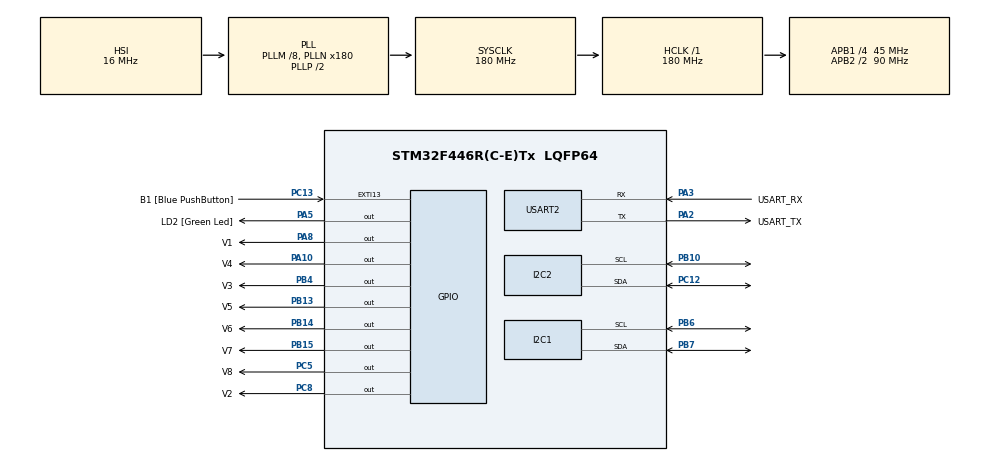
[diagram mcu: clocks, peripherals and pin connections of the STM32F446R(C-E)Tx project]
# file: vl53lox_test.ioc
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I2C1.I2C_Mode=I2C_Fast
I2C2.I2C_Mode=I2C_Fast
Mcu.Family=STM32F4
Mcu.Name=STM32F446R(C-E)Tx
Mcu.Package=LQFP64
NVIC.PriorityGroup=NVIC_PRIORITYGROUP_0
PA10.GPIO_Label=V4
PA10.Signal=GPIO_Output
PA13.GPIO_Label=TMS
PA13.Mode=Serial_Wire
PA13.Signal=SYS_JTMS-SWDIO
PA14.GPIO_Label=TCK
PA14.Mode=Serial_Wire
PA14.Signal=SYS_JTCK-SWCLK
PA2.GPIO_Label=USART_TX
PA2.Mode=Asynchronous
PA2.Signal=USART2_TX
PA3.GPIO_Label=USART_RX
PA3.Mode=Asynchronous
PA3.Signal=USART2_RX
PA5.GPIO_Label=LD2 [Green Led]
PA5.Signal=GPIO_Output
PA8.GPIO_Label=V1
PA8.Signal=GPIO_Output
PB10.Mode=I2C
PB10.Signal=I2C2_SCL
PB13.GPIO_Label=V5
PB13.Signal=GPIO_Output
PB14.GPIO_Label=V6
PB14.Signal=GPIO_Output
PB15.GPIO_Label=V7
PB15.Signal=GPIO_Output
PB3.GPIO_Label=SWO
PB3.Signal=SYS_JTDO-SWO
PB4.GPIO_Label=V3
PB4.Signal=GPIO_Output
PB6.Mode=I2C
PB6.Signal=I2C1_SCL
PB7.Mode=I2C
PB7.Signal=I2C1_SDA
PC12.Mode=I2C
PC12.Signal=I2C2_SDA
PC13.GPIO_Label=B1 [Blue PushButton]
PC13.GPIO_ModeDefaultEXTI=GPIO_MODE_IT_FALLING
PC13.Signal=GPXTI13
PC14-OSC32_IN.Mode=LSE-External-Oscillator
PC14-OSC32_IN.Signal=RCC_OSC32_IN
PC15-OSC32_OUT.Mode=LSE-External-Oscillator
PC15-OSC32_OUT.Signal=RCC_OSC32_OUT
PC5.GPIO_Label=V8
PC5.Signal=GPIO_Output
PC8.GPIO_Label=V2
PC8.Signal=GPIO_Output
PH0-OSC_IN.Mode=HSE-External-Oscillator
PH0-OSC_IN.Signal=RCC_OSC_IN
PH1-OSC_OUT.Mode=HSE-External-Oscillator
PH1-OSC_OUT.Signal=RCC_OSC_OUT
ProjectManager.HeapSize=0x200
ProjectManager.StackSize=0x400
ProjectManager.TargetToolchain=STM32CubeIDE
RCC.48MHZClocksFreq_Value=84000000
RCC.AHBFreq_Value=180000000
RCC.APB1CLKDivider=RCC_HCLK_DIV4
RCC.APB1Freq_Value=45000000
RCC.APB1TimFreq_Value=90000000
RCC.APB2CLKDivider=RCC_HCLK_DIV2
RCC.APB2Freq_Value=90000000
RCC.APB2TimFreq_Value=180000000
RCC.CortexFreq_Value=180000000
RCC.FLatency-AdvancedSettings=FLASH_LATENCY_5
RCC.HCLKFreq_Value=180000000
RCC.HSE_VALUE=8000000
RCC.HSI_VALUE=16000000
RCC.PLLM=8
RCC.PLLN=180
RCC.SYSCLKFreq_VALUE=180000000
RCC.SYSCLKSource=RCC_SYSCLKSOURCE_PLLCLK
RCC.USBFreq_Value=180000000
RCC.VCOOutputFreq_Value=360000000
USART2.VirtualMode=VM_ASYNC
board=NUCLEO-F446RE

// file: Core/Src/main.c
/* USER CODE BEGIN Header */
/**
  ******************************************************************************
  * @file           : main.c
  * @brief          : Main program body
  ******************************************************************************
  * @attention
  *
  * Copyright (c) 2025 STMicroelectronics.
  * All rights reserved.
  *
  * This software is licensed under terms that can be found in the LICENSE file
  * in the root directory of this software component.
  * If no LICENSE file comes with this software, it is provided AS-IS.
  *
  ******************************************************************************
  */
/* USER CODE END Header */
#include "main.h"
#include "string.h"
#include "VL53L0X.h"

I2C_HandleTypeDef hi2c1;
I2C_HandleTypeDef hi2c2;

UART_HandleTypeDef huart2;

/* USER CODE BEGIN PV */
statInfo_t_VL53L0X extraStats1, extraStats2, extraStats3, extraStats4, extraStats5, extraStats6, extraStats7, extraStats8;
/* USER CODE END PV */

void SystemClock_Config(void);
static void MX_GPIO_Init(void);
static void MX_I2C1_Init(void);
static void MX_I2C2_Init(void);
static void MX_USART2_UART_Init(void);

int main(void)
{

  /* MCU Configuration--------------------------------------------------------*/

  /* Reset of all peripherals, Initializes the Flash interface and the Systick. */
  HAL_Init();

  /* Configure the system clock */
  SystemClock_Config();

  /* Initialize all configured peripherals */
  MX_GPIO_Init();
  MX_I2C1_Init();
  MX_I2C2_Init();
  MX_USART2_UART_Init();
  /* USER CODE BEGIN 2 */
  HAL_GPIO_WritePin(V1_GPIO_Port, V1_Pin, GPIO_PIN_RESET);
  HAL_GPIO_WritePin(V2_GPIO_Port, V2_Pin, GPIO_PIN_RESET);
  HAL_GPIO_WritePin(V3_GPIO_Port, V3_Pin, GPIO_PIN_RESET);
  HAL_GPIO_WritePin(V4_GPIO_Port, V4_Pin, GPIO_PIN_RESET);
  HAL_GPIO_WritePin(V5_GPIO_Port, V5_Pin, GPIO_PIN_RESET);
  HAL_GPIO_WritePin(V6_GPIO_Port, V6_Pin, GPIO_PIN_RESET);
  HAL_GPIO_WritePin(V7_GPIO_Port, V7_Pin, GPIO_PIN_RESET);
  HAL_GPIO_WritePin(V8_GPIO_Port, V8_Pin, GPIO_PIN_RESET);
  HAL_Delay(10);

  //sensor 1
   HAL_GPIO_WritePin(V1_GPIO_Port, V1_Pin, GPIO_PIN_SET);
   HAL_Delay(50);
   if(initVL53L0X(1, &hi2c1)){
 	  HAL_UART_Transmit(&huart2, "sensor 1 initialized/n", strlen("sensor 1 initialized"), HAL_MAX_DELAY);
   }
   else{
	   HAL_UART_Transmit(&huart2, "error", strlen("error"), HAL_MAX_DELAY);
   }

  setAddress_VL53L0X(0x30);
  extraStats1.address=0x30;

  //sensor 2
   HAL_GPIO_WritePin(V2_GPIO_Port, V2_Pin, GPIO_PIN_SET);
   HAL_Delay(50);

  if(initVL53L0X(1, &hi2c1)){
   HAL_UART_Transmit(&huart2, "sensor 2 initialized/n", strlen("sensor 2 initialized"), HAL_MAX_DELAY);
   }
  else{
 	   HAL_UART_Transmit(&huart2, "error", strlen("error"), HAL_MAX_DELAY);
    }
//
  setAddress_VL53L0X(0x32);
   extraStats2.address=0x32;

   //sensor 3
   HAL_GPIO_WritePin(V3_GPIO_Port, V3_Pin, GPIO_PIN_SET);
   HAL_Delay(50);

  if(initVL53L0X(1, &hi2c1)){
   HAL_UART_Transmit(&huart2, "sensor 3 initialized/n", strlen("sensor 3 initialized"), HAL_MAX_DELAY);
   }
  else{
 	   HAL_UART_Transmit(&huart2, "error", strlen("error"), HAL_MAX_DELAY);
    }
//
  setAddress_VL53L0X(0x34);
   extraStats3.address=0x34;

   //sensor 4
   HAL_GPIO_WritePin(V4_GPIO_Port, V4_Pin, GPIO_PIN_SET);
   HAL_Delay(50);

  if(initVL53L0X(1, &hi2c1)){
   HAL_UART_Transmit(&huart2, "sensor 4 initialized/n", strlen("sensor 4 initialized"), HAL_MAX_DELAY);
   }
  else{
 	   HAL_UART_Transmit(&huart2, "error", strlen("error"), HAL_MAX_DELAY);
    }
//
  setAddress_VL53L0X(0x36);
   extraStats4.address=0x36;

   //sensor 5
   HAL_GPIO_WritePin(V5_GPIO_Port, V5_Pin, GPIO_PIN_SET);
   HAL_Delay(50);
   if(initVL53L0X(1, &hi2c1)){
 	  HAL_UART_Transmit(&huart2, "sensor 5 initialized/n", strlen("sensor 5 initialized"), HAL_MAX_DELAY);
   }
   else{
	   HAL_UART_Transmit(&huart2, "error", strlen("error"), HAL_MAX_DELAY);
   }

  setAddress_VL53L0X(0x38);
  extraStats5.address=0x38;

  //sensor 6
   HAL_GPIO_WritePin(V6_GPIO_Port, V6_Pin, GPIO_PIN_SET);
   HAL_Delay(50);

  if(initVL53L0X(1, &hi2c1)){
   HAL_UART_Transmit(&huart2, "sensor 6 initialized/n", strlen("sensor 6 initialized"), HAL_MAX_DELAY);
   }
  else{
 	   HAL_UART_Transmit(&huart2, "error", strlen("error"), HAL_MAX_DELAY);
    }
//
  setAddress_VL53L0X(0x40);
   extraStats6.address=0x40;

   //sensor 7
   HAL_GPIO_WritePin(V7_GPIO_Port, V7_Pin, GPIO_PIN_SET);
   HAL_Delay(50);

  if(initVL53L0X(1, &hi2c1)){
   HAL_UART_Transmit(&huart2, "sensor 7 initialized/n", strlen("sensor 7 initialized"), HAL_MAX_DELAY);
   }
  else{
 	   HAL_UART_Transmit(&huart2, "error", strlen("error"), HAL_MAX_DELAY);
    }
//
  setAddress_VL53L0X(0x42);
   extraStats7.address=0x42;

   //sensor 8
   HAL_GPIO_WritePin(V8_GPIO_Port, V8_Pin, GPIO_PIN_SET);
   HAL_Delay(50);

  if(initVL53L0X(1, &hi2c1)){
   HAL_UART_Transmit(&huart2, "sensor 8 initialized/n", strlen("sensor 8 initialized"), HAL_MAX_DELAY);
   }
  else{
 	   HAL_UART_Transmit(&huart2, "error", strlen("error"), HAL_MAX_DELAY);
    }
//
  setAddress_VL53L0X(0x44);
   extraStats8.address=0x44;

   setSignalRateLimit_x(2000,&extraStats1);
   setSignalRateLimit_x(2000,&extraStats2);
   setSignalRateLimit_x(2000,&extraStats3);
   setSignalRateLimit_x(2000,&extraStats4);
   setSignalRateLimit_x(2000,&extraStats5);
   setSignalRateLimit_x(2000,&extraStats6);
   setSignalRateLimit_x(2000,&extraStats7);
   setSignalRateLimit_x(2000,&extraStats8);

   setVcselPulsePeriod_x(VcselPeriodPreRange, 10, &extraStats1);
  setVcselPulsePeriod_x(VcselPeriodPreRange, 10, &extraStats2);
  setVcselPulsePeriod_x(VcselPeriodPreRange, 10, &extraStats3);
  setVcselPulsePeriod_x(VcselPeriodPreRange, 10, &extraStats4);
  setVcselPulsePeriod_x(VcselPeriodPreRange, 10, &extraStats5);
    setVcselPulsePeriod_x(VcselPeriodPreRange, 10, &extraStats6);
    setVcselPulsePeriod_x(VcselPeriodPreRange, 10, &extraStats7);
    setVcselPulsePeriod_x(VcselPeriodPreRange, 10, &extraStats8);

   setVcselPulsePeriod_x(VcselPeriodFinalRange, 14, &extraStats1);
   setVcselPulsePeriod_x(VcselPeriodFinalRange, 14, &extraStats2);
   setVcselPulsePeriod_x(VcselPeriodFinalRange, 14, &extraStats3);
   setVcselPulsePeriod_x(VcselPeriodFinalRange, 14, &extraStats4);
   setVcselPulsePeriod_x(VcselPeriodFinalRange, 14, &extraStats5);
   setVcselPulsePeriod_x(VcselPeriodFinalRange, 14, &extraStats6);
   setVcselPulsePeriod_x(VcselPeriodFinalRange, 14, &extraStats7);
   setVcselPulsePeriod_x(VcselPeriodFinalRange, 14, &extraStats8);

   setMeasurementTimingBudget_x(300 * 1000UL, &extraStats1);
   setMeasurementTimingBudget_x(300 * 1000UL, &extraStats2);
   setMeasurementTimingBudget_x(300 * 1000UL, &extraStats2);
   setMeasurementTimingBudget_x(300 * 1000UL, &extraStats2);
   setMeasurementTimingBudget_x(300 * 1000UL, &extraStats5);
   setMeasurementTimingBudget_x(300 * 1000UL, &extraStats6);
   setMeasurementTimingBudget_x(300 * 1000UL, &extraStats7);
   setMeasurementTimingBudget_x(300 * 1000UL, &extraStats8);

   	uint16_t distance1;
   	uint16_t distance2;
   	uint16_t distance3;
   	uint16_t distance4;
   	uint16_t distance5;
   	uint16_t distance6;
   	uint16_t distance7;
   	uint16_t distance8;
  /* USER CODE END 2 */

  /* Infinite loop */
  while (1)
  {
	  char msgBuffer_1[52];
	  char msgBuffer_2[52];
	  char msgBuffer_3[52];
	  char msgBuffer_4[52];
	  char msgBuffer_5[52];
	  char msgBuffer_6[52];
	  char msgBuffer_7[52];
	  char msgBuffer_8[52];

	  distance2= readRangeSingleMillimeters(&extraStats2);
	  	  sprintf(msgBuffer_2, "Distance1: %d\r\n", distance2);
	  	  HAL_UART_Transmit(&huart2, (uint8_t*) msgBuffer_2, sizeof(msgBuffer_2), 50);
  }
}

void SystemClock_Config(void)
{
  RCC_OscInitTypeDef RCC_OscInitStruct = {0};
  RCC_ClkInitTypeDef RCC_ClkInitStruct = {0};

  /** Configure the main internal regulator output voltage
  */
  __HAL_RCC_PWR_CLK_ENABLE();
  __HAL_PWR_VOLTAGESCALING_CONFIG(PWR_REGULATOR_VOLTAGE_SCALE1);

  /** Initializes the RCC Oscillators according to the specified parameters
  * in the RCC_OscInitTypeDef structure.
  */
  RCC_OscInitStruct.OscillatorType = RCC_OSCILLATORTYPE_HSI;
  RCC_OscInitStruct.HSIState = RCC_HSI_ON;
  RCC_OscInitStruct.HSICalibrationValue = RCC_HSICALIBRATION_DEFAULT;
  RCC_OscInitStruct.PLL.PLLState = RCC_PLL_ON;
  RCC_OscInitStruct.PLL.PLLSource = RCC_PLLSOURCE_HSI;
  RCC_OscInitStruct.PLL.PLLM = 8;
  RCC_OscInitStruct.PLL.PLLN = 180;
  RCC_OscInitStruct.PLL.PLLP = RCC_PLLP_DIV2;
  RCC_OscInitStruct.PLL.PLLQ = 2;
  RCC_OscInitStruct.PLL.PLLR = 2;
  if (HAL_RCC_OscConfig(&RCC_OscInitStruct) != HAL_OK)
  {
    Error_Handler();
  }

  /** Activate the Over-Drive mode
  */
  if (HAL_PWREx_EnableOverDrive() != HAL_OK)
  {
    Error_Handler();
  }

  /** Initializes the CPU, AHB and APB buses clocks
  */
  RCC_ClkInitStruct.ClockType = RCC_CLOCKTYPE_HCLK|RCC_CLOCKTYPE_SYSCLK
                              |RCC_CLOCKTYPE_PCLK1|RCC_CLOCKTYPE_PCLK2;
  RCC_ClkInitStruct.SYSCLKSource = RCC_SYSCLKSOURCE_PLLCLK;
  RCC_ClkInitStruct.AHBCLKDivider = RCC_SYSCLK_DIV1;
  RCC_ClkInitStruct.APB1CLKDivider = RCC_HCLK_DIV4;
  RCC_ClkInitStruct.APB2CLKDivider = RCC_HCLK_DIV2;

  if (HAL_RCC_ClockConfig(&RCC_ClkInitStruct, FLASH_LATENCY_5) != HAL_OK)
  {
    Error_Handler();
  }
}

static void MX_I2C1_Init(void)
{

  hi2c1.Instance = I2C1;
  hi2c1.Init.ClockSpeed = 400000;
  hi2c1.Init.DutyCycle = I2C_DUTYCYCLE_2;
  hi2c1.Init.OwnAddress1 = 0;
  hi2c1.Init.AddressingMode = I2C_ADDRESSINGMODE_7BIT;
  hi2c1.Init.DualAddressMode = I2C_DUALADDRESS_DISABLE;
  hi2c1.Init.OwnAddress2 = 0;
  hi2c1.Init.GeneralCallMode = I2C_GENERALCALL_DISABLE;
  hi2c1.Init.NoStretchMode = I2C_NOSTRETCH_DISABLE;
  if (HAL_I2C_Init(&hi2c1) != HAL_OK)
  {
    Error_Handler();
  }

}

static void MX_I2C2_Init(void)
{

  hi2c2.Instance = I2C2;
  hi2c2.Init.ClockSpeed = 400000;
  hi2c2.Init.DutyCycle = I2C_DUTYCYCLE_2;
  hi2c2.Init.OwnAddress1 = 0;
  hi2c2.Init.AddressingMode = I2C_ADDRESSINGMODE_7BIT;
  hi2c2.Init.DualAddressMode = I2C_DUALADDRESS_DISABLE;
  hi2c2.Init.OwnAddress2 = 0;
  hi2c2.Init.GeneralCallMode = I2C_GENERALCALL_DISABLE;
  hi2c2.Init.NoStretchMode = I2C_NOSTRETCH_DISABLE;
  if (HAL_I2C_Init(&hi2c2) != HAL_OK)
  {
    Error_Handler();
  }

}

static void MX_USART2_UART_Init(void)
{

  huart2.Instance = USART2;
  huart2.Init.BaudRate = 115200;
  huart2.Init.WordLength = UART_WORDLENGTH_8B;
  huart2.Init.StopBits = UART_STOPBITS_1;
  huart2.Init.Parity = UART_PARITY_NONE;
  huart2.Init.Mode = UART_MODE_TX_RX;
  huart2.Init.HwFlowCtl = UART_HWCONTROL_NONE;
  huart2.Init.OverSampling = UART_OVERSAMPLING_16;
  if (HAL_UART_Init(&huart2) != HAL_OK)
  {
    Error_Handler();
  }

}

static void MX_GPIO_Init(void)
{
  GPIO_InitTypeDef GPIO_InitStruct = {0};

  /* GPIO Ports Clock Enable */
  __HAL_RCC_GPIOC_CLK_ENABLE();
  __HAL_RCC_GPIOH_CLK_ENABLE();
  __HAL_RCC_GPIOA_CLK_ENABLE();
  __HAL_RCC_GPIOB_CLK_ENABLE();

  /*Configure GPIO pin Output Level */
  HAL_GPIO_WritePin(GPIOA, LD2_Pin|V1_Pin|V4_Pin, GPIO_PIN_RESET);

  /*Configure GPIO pin Output Level */
  HAL_GPIO_WritePin(GPIOC, V8_Pin|V2_Pin, GPIO_PIN_RESET);

  /*Configure GPIO pin Output Level */
  HAL_GPIO_WritePin(GPIOB, V5_Pin|V6_Pin|V7_Pin|V3_Pin, GPIO_PIN_RESET);

  /*Configure GPIO pin : B1_Pin */
  GPIO_InitStruct.Pin = B1_Pin;
  GPIO_InitStruct.Mode = GPIO_MODE_IT_FALLING;
  GPIO_InitStruct.Pull = GPIO_NOPULL;
  HAL_GPIO_Init(B1_GPIO_Port, &GPIO_InitStruct);

  /*Configure GPIO pins : LD2_Pin V1_Pin V4_Pin */
  GPIO_InitStruct.Pin = LD2_Pin|V1_Pin|V4_Pin;
  GPIO_InitStruct.Mode = GPIO_MODE_OUTPUT_PP;
  GPIO_InitStruct.Pull = GPIO_NOPULL;
  GPIO_InitStruct.Speed = GPIO_SPEED_FREQ_LOW;
  HAL_GPIO_Init(GPIOA, &GPIO_InitStruct);

  /*Configure GPIO pins : V8_Pin V2_Pin */
  GPIO_InitStruct.Pin = V8_Pin|V2_Pin;
  GPIO_InitStruct.Mode = GPIO_MODE_OUTPUT_PP;
  GPIO_InitStruct.Pull = GPIO_NOPULL;
  GPIO_InitStruct.Speed = GPIO_SPEED_FREQ_LOW;
  HAL_GPIO_Init(GPIOC, &GPIO_InitStruct);

  /*Configure GPIO pins : V5_Pin V6_Pin V7_Pin V3_Pin */
  GPIO_InitStruct.Pin = V5_Pin|V6_Pin|V7_Pin|V3_Pin;
  GPIO_InitStruct.Mode = GPIO_MODE_OUTPUT_PP;
  GPIO_InitStruct.Pull = GPIO_NOPULL;
  GPIO_InitStruct.Speed = GPIO_SPEED_FREQ_LOW;
  HAL_GPIO_Init(GPIOB, &GPIO_InitStruct);

}

void Error_Handler(void)
{
  __disable_irq();
  while (1)
  {
  }
}
